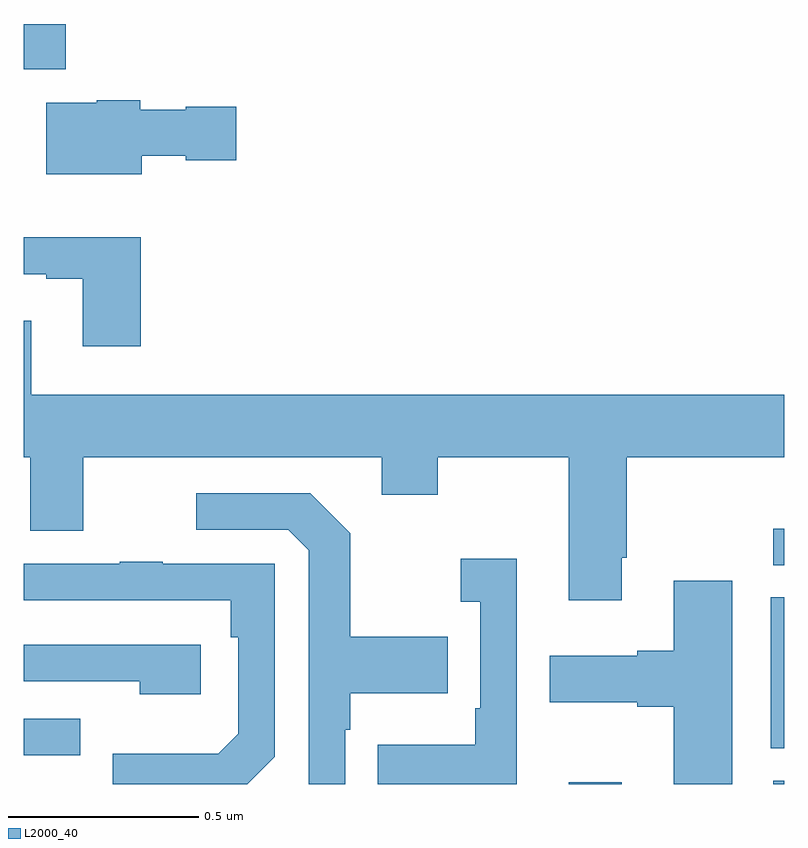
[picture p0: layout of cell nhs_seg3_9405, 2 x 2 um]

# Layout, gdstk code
import gdstk
lib = gdstk.Library(unit=1e-6, precision=1e-09)
def R(c, l, rs):  # rectangles x0, y0, x1, y1
    for r in rs: c.add(gdstk.rectangle(r[:2], r[2:], *l))
def P(c, l, *ps):  # polygons
    for p in ps: c.add(gdstk.Polygon(p, *l))
L2000_40 = (2000, 40)

nhs_seg3_9405 = lib.new_cell('nhs_seg3_9405')
R(nhs_seg3_9405, L2000_40, [(229.433,689.4,229.573,689.404), (229.971,689.4,230,689.409), (228,689.475,228.149,689.571), (229.964,689.494,230,689.891), (229.971,689.976,230,690.072), (228,691.28,228.11,691.399)])
P(nhs_seg3_9405, L2000_40, [(228.31,691.052),(228.426,691.052),(228.426,691.04),(228.559,691.04),(228.559,691.182),(228.426,691.182),(228.426,691.174),(228.306,691.174),(228.306,691.198),(228.192,691.198),(228.192,691.192),(228.059,691.192),(228.059,691.004),(228.31,691.004)],
  [(228.308,690.838),(228,690.838),(228,690.741),(228.059,690.741),(228.059,690.729),(228.155,690.729),(228.155,690.552),(228.308,690.552)],
  [(229.573,689.995),(229.586,689.995),(229.586,690.26),(230,690.26),(230,690.424),(228.019,690.424),(228.019,690.619),(228,690.619),(228,690.26),(228.017,690.26),(228.017,690.066),(228.157,690.066),(228.157,690.26),(228.941,690.26),(228.941,690.161),(229.089,690.161),(229.089,690.26),(229.433,690.26),(229.433,689.883),(229.573,689.883)],
  [(228.846,689.543),(228.859,689.543),(228.859,689.639),(229.115,689.639),(229.115,689.787),(228.859,689.787),(228.859,690.059),(228.753,690.165),(228.453,690.165),(228.453,690.069),(228.696,690.069),(228.75,690.015),(228.75,689.4),(228.846,689.4)],
  [(229.296,689.992),(229.149,689.992),(229.149,689.879),(229.2,689.879),(229.2,689.599),(229.188,689.599),(229.188,689.503),(228.931,689.503),(228.931,689.4),(229.296,689.4)],
  [(228.66,689.472),(228.66,689.979),(228.365,689.979),(228.365,689.984),(228.253,689.984),(228.253,689.979),(228,689.979),(228,689.883),(228.544,689.883),(228.544,689.786),(228.564,689.786),(228.564,689.532),(228.511,689.479),(228.234,689.479),(228.234,689.4),(228.588,689.4)],
  [(229.864,689.935),(229.709,689.935),(229.709,689.75),(229.613,689.75),(229.613,689.737),(229.383,689.737),(229.383,689.615),(229.613,689.615),(229.613,689.603),(229.709,689.603),(229.709,689.4),(229.864,689.4)],
  [(228.466,689.766),(228,689.766),(228,689.67),(228.305,689.67),(228.305,689.636),(228.466,689.636)])

lib.write_gds('nhs_seg3_9405.gds')
